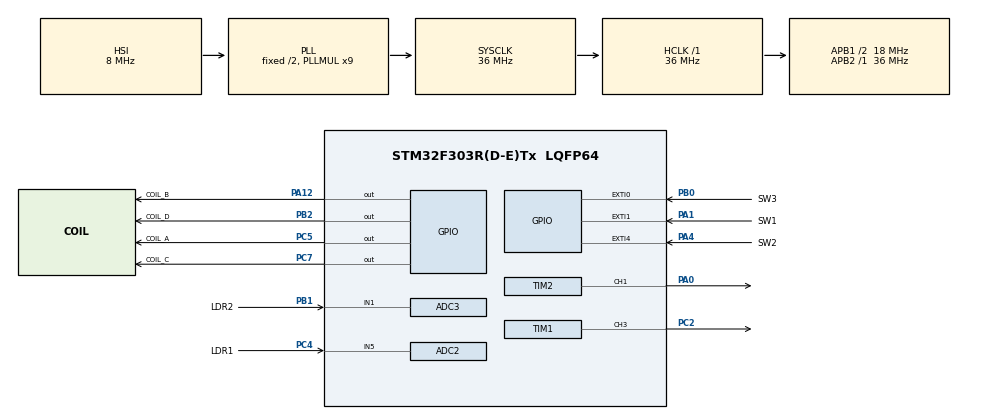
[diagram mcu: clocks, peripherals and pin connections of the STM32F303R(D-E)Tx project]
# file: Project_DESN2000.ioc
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ADC2.Channel-0\#ChannelRegularConversion=ADC_CHANNEL_5
ADC2.NbrOfConversionFlag=1
ADC2.Offset-0\#ChannelRegularConversion=0
ADC2.OffsetNumber-0\#ChannelRegularConversion=ADC_OFFSET_NONE
ADC2.Rank-0\#ChannelRegularConversion=1
ADC2.SamplingTime-0\#ChannelRegularConversion=ADC_SAMPLETIME_1CYCLE_5
ADC2.SamplingTimeOPAMP-0\#ChannelRegularConversion=ADC_SAMPLETIME_19CYCLES_5
ADC3.Channel-2\#ChannelRegularConversion=ADC_CHANNEL_1
ADC3.NbrOfConversionFlag=1
ADC3.Offset-2\#ChannelRegularConversion=0
ADC3.OffsetNumber-2\#ChannelRegularConversion=ADC_OFFSET_NONE
ADC3.Rank-2\#ChannelRegularConversion=1
ADC3.SamplingTime-2\#ChannelRegularConversion=ADC_SAMPLETIME_1CYCLE_5
ADC3.SamplingTimeOPAMP-2\#ChannelRegularConversion=ADC_SAMPLETIME_19CYCLES_5
ADC3.master=1
Mcu.Family=STM32F3
Mcu.Name=STM32F303R(D-E)Tx
Mcu.Package=LQFP64
NVIC.EXTI0_IRQn=true\:0\:0\:false\:false\:true\:true\:true\:true
NVIC.EXTI1_IRQn=true\:0\:0\:false\:false\:true\:true\:true\:true
NVIC.PriorityGroup=NVIC_PRIORITYGROUP_0
NVIC.RTC_Alarm_IRQn=true\:0\:0\:false\:false\:true\:true\:true\:true
NVIC.RTC_WKUP_IRQn=true\:0\:0\:false\:false\:true\:true\:true\:true
NVIC.TIM6_DAC_IRQn=true\:0\:0\:false\:false\:true\:true\:true\:true
PA0.Signal=S_TIM2_CH1_ETR
PA1.GPIO_Label=SW1
PA1.Signal=GPXTI1
PA12.GPIO_Label=COIL_B
PA12.Signal=GPIO_Output
PA13.GPIO_Label=TMS
PA13.Mode=Serial_Wire
PA13.Signal=SYS_JTMS-SWDIO
PA14.GPIO_Label=TCK
PA14.Mode=Serial_Wire
PA14.Signal=SYS_JTCK-SWCLK
PA4.GPIO_Label=SW2
PA4.Signal=GPXTI4
PB0.GPIO_Label=SW3
PB0.Signal=GPXTI0
PB1.GPIO_Label=LDR2
PB1.Mode=IN1-Single-Ended
PB1.Signal=ADC3_IN1
PB2.GPIO_Label=COIL_D
PB2.Signal=GPIO_Output
PB3.GPIO_Label=SWO
PB3.Signal=SYS_JTDO-TRACESWO
PC2.Signal=S_TIM1_CH3
PC4.GPIO_Label=LDR1
PC4.GPIO_Mode=GPIO_MODE_ANALOG
PC4.GPIO_PuPd=GPIO_NOPULL
PC4.Mode=IN5-Single-Ended
PC4.Signal=ADC2_IN5
PC5.GPIO_Label=COIL_A
PC5.Signal=GPIO_Output
PC7.GPIO_Label=COIL_C
PC7.Signal=GPIO_Output
ProjectManager.HeapSize=0x200
ProjectManager.StackSize=0x400
ProjectManager.TargetToolchain=STM32CubeIDE
RCC.AHBFreq_Value=36000000
RCC.APB1CLKDivider=RCC_HCLK_DIV2
RCC.APB1Freq_Value=18000000
RCC.APB1TimFreq_Value=36000000
RCC.APB2Freq_Value=36000000
RCC.APB2TimFreq_Value=36000000
RCC.CortexFreq_Value=36000000
RCC.HCLKFreq_Value=36000000
RCC.HSE_VALUE=8000000
RCC.HSI_VALUE=8000000
RCC.LSE_VALUE=32768
RCC.PLLM=8
RCC.PLLMUL=RCC_PLL_MUL9
RCC.PLLN=336
RCC.PLLP=RCC_PLLP_DIV4
RCC.PLLQ=7
RCC.RCC_PLLsource_Clock_Source_FROM_HSE=RCC_HSE_PREDIV_DIV2
RCC.SYSCLKFreq_VALUE=36000000
RCC.SYSCLKSourceVirtual=RCC_SYSCLKSOURCE_PLLCLK
RCC.USBFreq_Value=36000000
RTC.Alarm-Alarm\ A=RTC_ALARM_A
SH.S_TIM1_CH3.0=TIM1_CH3,PWM Generation3 CH3
SH.S_TIM2_CH1_ETR.0=TIM2_CH1,PWM Generation1 CH1
TIM1.Channel-PWM\ Generation3\ CH3=TIM_CHANNEL_3
TIM1.Prescaler=999
TIM2.Channel-PWM\ Generation1\ CH1=TIM_CHANNEL_1
TIM6.Period=7199
TIM6.Prescaler=9999
VP_RTC_VS_RTC_Activate.Mode=RTC_Enabled
VP_RTC_VS_RTC_Alarm_A_Intern.Mode=Alarm A
VP_RTC_VS_RTC_Calendar.Mode=RTC_Calendar
VP_RTC_VS_RTC_WakeUp_intern.Mode=WakeUp
VP_TIM1_VS_ClockSourceINT.Mode=Internal
VP_TIM2_VS_ClockSourceINT.Mode=Internal
VP_TIM6_VS_ClockSourceINT.Mode=Enable_Timer
board=NUCLEO-F303RE

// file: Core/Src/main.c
/* USER CODE BEGIN Header */
/**
  ******************************************************************************
  * @file           : main.c
  * @brief          : Main program body
  ******************************************************************************
  * @attention
  *
  * Copyright (c) 2025 STMicroelectronics.
  * All rights reserved.
  *
  * This software is licensed under terms that can be found in the LICENSE file
  * in the root directory of this software component.
  * If no LICENSE file comes with this software, it is provided AS-IS.
  *
  ******************************************************************************
  */
/* USER CODE END Header */
#include "main.h"
#include "lcd.h"
#include "screen.h"
#include "clockFunctions.h"
#include "haptics.h"

/* USER CODE BEGIN Includes */
#include <stdbool.h>
#include <stdio.h>
/* USER CODE END Includes */

/* USER CODE BEGIN PD */
#define MAX_SCREEN_INDEX 17
#define DEBOUNCE_DELAY 20
#define BRIGHTNESS_LEVELS 5
/* USER CODE END PD */

ADC_HandleTypeDef hadc2;
ADC_HandleTypeDef hadc3;

DMA_HandleTypeDef hdma_tim2_ch1;
RTC_HandleTypeDef hrtc;

TIM_HandleTypeDef htim1;
TIM_HandleTypeDef htim2;
TIM_HandleTypeDef htim6;

/* USER CODE BEGIN PV */
volatile bool sw1_pressed = false;
volatile bool sw2_pressed = false;
volatile bool sw3_pressed = false;

bool running = true;

// --- THE SCREEN TABLE ---
// This array maps each screen index to its specific functions.
const Screen_t screens[MAX_SCREEN_INDEX + 1] = {
    // Index | Init Function          | Process Function
    //-----------------------------------------------------------------
    [0] =  { .init = showHomeScreen,             	.process = processHomeScreen },
    [1] =  { .init = showStopwatchScreen,          	.process = processStopwatchInput },
    [2] =  { .init = showCountdownScreen,           .process = processCountdownInput },
    [3] =  { .init = showAlarmScreen,               .process = processAlarm },
	[4] =  { .init = showLEDBrightnessScreen,    	.process = processLEDBrightnessInput },
    [5] =  { .init = showStepCounterScreen, 		.process = processStepCounterInput },
    [6] =  { .init = showSleepTrackerScreen, 		.process = processSleepTrackerInput },
    [7] =  { .init = showHeartRateScreen, 			.process = processHeartRateInput },
    [8] =  { .init = showWeatherScreen, 			.process = processWeatherInput },
	[9] =  { .init = showFallDemoScreen, 			.process = processFallDemoInput },
	[10] = { .init = showGameReactionScreen, 		.process = processGameReactionScreen },
    [11] = { .init = showExerciseScreen,            .process = processExerciseInput },
    [12] = { .init = showCoinFlipScreen,            .process = showCoinFlipScreen },
    [13] = { .init = showMagicBallScreen,           .process = processMagicBall },
    [14] = { .init = showScoreTrackerScreen,        .process = processScoreTracker },
	[15] = { .init = showHapticsScreen, 			.process = processHaptics },
    [16] = { .init = showClockScreen,    			.process = processClock }

};

int screenIndex = 0;
static uint32_t lastButtonPressTime = 0;
static uint32_t pwm_cycle_start = 0;
static bool pwm_state = false;
static const uint16_t PWM_PERIOD_MS = 10;  // 20ms PWM period

/* USER CODE END PV */

void SystemClock_Config(void);
static void MX_GPIO_Init(void);
static void MX_TIM6_Init(void);
static void MX_ADC2_Init(void);
static void MX_DMA_Init(void);
static void MX_TIM2_Init(void);
static void MX_ADC3_Init(void);
static void MX_RTC_Init(void);
static void MX_TIM1_Init(void);
/* USER CODE BEGIN PFP */
void readButtonInputs(void);
void updateScreen(int index);

void software_PWM_ShiftLEDs(uint8_t brightness, uint16_t duration_ms);
void setAllShiftLEDs(uint8_t state);
void demonstrateFadeEffect(void);
void smoothFadeTo(uint8_t targetBrightness);
uint8_t getCurrentBrightnessPercent(void);

/* USER CODE END PFP */

int main(void)
{

  /* MCU Configuration--------------------------------------------------------*/

  /* Reset of all peripherals, Initializes the Flash interface and the Systick. */
  HAL_Init();

  /* Configure the system clock */
  SystemClock_Config();

  /* Initialize all configured peripherals */
  MX_GPIO_Init();
  MX_TIM6_Init();
  MX_ADC2_Init();
  MX_DMA_Init();
  MX_TIM2_Init();
  MX_ADC3_Init();
  MX_RTC_Init();
  MX_TIM1_Init();
  /* USER CODE BEGIN 2 */
  LCD_Init();
  isHomeScreenActive = false;
  screenIndex = 0;
  updateScreen(screenIndex);

  HAL_TIM_PWM_Start(&htim2, TIM_CHANNEL_1);
  /* USER CODE END 2 */

  /* Infinite loop */
  while (1)
  {

    /* USER CODE BEGIN 3 */
	// 1. Check for navigation inputs
	readButtonInputs();

	// 2. Call the process function for the CURRENT screen
	if (screens[screenIndex].process != NULL) {
	    screens[screenIndex].process();
	}

    // 3. Handles flashlight function when on screen 4
    if (screenIndex == 4) {
        static uint8_t lastBrightness = 255;
        uint8_t currentBrightness = getCurrentBrightnessPercent();

        if (currentBrightness != lastBrightness) {
            // Updating hardware PWM for LD2
            if (currentBrightness == 0) {
                TIM2->CCR1 = 0;  	// 0% brightness
            } else if (currentBrightness <= 10) {
                TIM2->CCR1 = 115; 	// ~10% brightness
            } else if (currentBrightness <= 50) {
                TIM2->CCR1 = 575;  	// 50% brightness
            } else if (currentBrightness <= 80) {
                TIM2->CCR1 = 920;  	// 80% brightness
            } else {
                TIM2->CCR1 = 1151;  // 100% brightness
            }

            // Updating software PWM LEDs
            if (currentBrightness == 0) {
                setAllShiftLEDs(0);  // Turn off all LEDs
                HAL_GPIO_WritePin(D1_GPIO_Port, D1_Pin, GPIO_PIN_RESET);
                HAL_GPIO_WritePin(D2_GPIO_Port, D2_Pin, GPIO_PIN_RESET);
                HAL_GPIO_WritePin(D3_GPIO_Port, D3_Pin, GPIO_PIN_RESET);
                HAL_GPIO_WritePin(D4_GPIO_Port, D4_Pin, GPIO_PIN_RESET);
            } else if (currentBrightness == 100) {
                setAllShiftLEDs(1);  // Turn on all LEDs
                HAL_GPIO_WritePin(D1_GPIO_Port, D1_Pin, GPIO_PIN_SET);
                HAL_GPIO_WritePin(D2_GPIO_Port, D2_Pin, GPIO_PIN_SET);
                HAL_GPIO_WritePin(D3_GPIO_Port, D3_Pin, GPIO_PIN_SET);
                HAL_GPIO_WritePin(D4_GPIO_Port, D4_Pin, GPIO_PIN_SET);
            }
            lastBrightness = currentBrightness;
        }
        // Handles software PWM for brightness levels
        if (currentBrightness > 0 && currentBrightness < 100) {
            static uint32_t lastPWMUpdate = 0;
            uint32_t now = HAL_GetTick();

            if (now - lastPWMUpdate >= 100) {  // Updates every 100ms
                software_PWM_ShiftLEDs(currentBrightness, 100);
                lastPWMUpdate = now;
            }
        }
    } else {
        // Turns off flashlight when not on flashlight screen (Screen 4)
        __HAL_TIM_SET_COMPARE(&htim2, TIM_CHANNEL_1, 0);  // Turns off LD2
        setAllShiftLEDs(0);  // Turns off shift register LEDs
        HAL_GPIO_WritePin(D1_GPIO_Port, D1_Pin, GPIO_PIN_RESET);
        HAL_GPIO_WritePin(D2_GPIO_Port, D2_Pin, GPIO_PIN_RESET);
        HAL_GPIO_WritePin(D3_GPIO_Port, D3_Pin, GPIO_PIN_RESET);
        HAL_GPIO_WritePin(D4_GPIO_Port, D4_Pin, GPIO_PIN_RESET);
    }

	HAL_Delay(50); // General delay for stability
  }
  /* USER CODE END 3 */
}

void SystemClock_Config(void)
{
  RCC_OscInitTypeDef RCC_OscInitStruct = {0};
  RCC_ClkInitTypeDef RCC_ClkInitStruct = {0};
  RCC_PeriphCLKInitTypeDef PeriphClkInit = {0};

  /** Initializes the RCC Oscillators according to the specified parameters
  * in the RCC_OscInitTypeDef structure.
  */
  RCC_OscInitStruct.OscillatorType = RCC_OSCILLATORTYPE_HSI|RCC_OSCILLATORTYPE_LSI;
  RCC_OscInitStruct.HSIState = RCC_HSI_ON;
  RCC_OscInitStruct.HSICalibrationValue = RCC_HSICALIBRATION_DEFAULT;
  RCC_OscInitStruct.LSIState = RCC_LSI_ON;
  RCC_OscInitStruct.PLL.PLLState = RCC_PLL_ON;
  RCC_OscInitStruct.PLL.PLLSource = RCC_PLLSOURCE_HSI;
  RCC_OscInitStruct.PLL.PLLMUL = RCC_PLL_MUL9;
  RCC_OscInitStruct.PLL.PREDIV = RCC_PREDIV_DIV1;
  if (HAL_RCC_OscConfig(&RCC_OscInitStruct) != HAL_OK)
  {
    Error_Handler();
  }

  /** Initializes the CPU, AHB and APB buses clocks
  */
  RCC_ClkInitStruct.ClockType = RCC_CLOCKTYPE_HCLK|RCC_CLOCKTYPE_SYSCLK
                              |RCC_CLOCKTYPE_PCLK1|RCC_CLOCKTYPE_PCLK2;
  RCC_ClkInitStruct.SYSCLKSource = RCC_SYSCLKSOURCE_PLLCLK;
  RCC_ClkInitStruct.AHBCLKDivider = RCC_SYSCLK_DIV1;
  RCC_ClkInitStruct.APB1CLKDivider = RCC_HCLK_DIV2;
  RCC_ClkInitStruct.APB2CLKDivider = RCC_HCLK_DIV1;

  if (HAL_RCC_ClockConfig(&RCC_ClkInitStruct, FLASH_LATENCY_1) != HAL_OK)
  {
    Error_Handler();
  }
  PeriphClkInit.PeriphClockSelection = RCC_PERIPHCLK_RTC|RCC_PERIPHCLK_TIM1
                              |RCC_PERIPHCLK_ADC12|RCC_PERIPHCLK_ADC34
                              |RCC_PERIPHCLK_TIM2;
  PeriphClkInit.Adc12ClockSelection = RCC_ADC12PLLCLK_DIV1;
  PeriphClkInit.Adc34ClockSelection = RCC_ADC34PLLCLK_DIV1;
  PeriphClkInit.RTCClockSelection = RCC_RTCCLKSOURCE_LSI;
  PeriphClkInit.Tim1ClockSelection = RCC_TIM1CLK_HCLK;
  PeriphClkInit.Tim2ClockSelection = RCC_TIM2CLK_HCLK;
  if (HAL_RCCEx_PeriphCLKConfig(&PeriphClkInit) != HAL_OK)
  {
    Error_Handler();
  }
}

static void MX_ADC2_Init(void)
{

  ADC_ChannelConfTypeDef sConfig = {0};

  /** Common config
  */
  hadc2.Instance = ADC2;
  hadc2.Init.ClockPrescaler = ADC_CLOCK_ASYNC_DIV1;
  hadc2.Init.Resolution = ADC_RESOLUTION_12B;
  hadc2.Init.ScanConvMode = ADC_SCAN_DISABLE;
  hadc2.Init.ContinuousConvMode = DISABLE;
  hadc2.Init.DiscontinuousConvMode = DISABLE;
  hadc2.Init.ExternalTrigConvEdge = ADC_EXTERNALTRIGCONVEDGE_NONE;
  hadc2.Init.ExternalTrigConv = ADC_SOFTWARE_START;
  hadc2.Init.DataAlign = ADC_DATAALIGN_RIGHT;
  hadc2.Init.NbrOfConversion = 1;
  hadc2.Init.DMAContinuousRequests = DISABLE;
  hadc2.Init.EOCSelection = ADC_EOC_SINGLE_CONV;
  hadc2.Init.LowPowerAutoWait = DISABLE;
  hadc2.Init.Overrun = ADC_OVR_DATA_OVERWRITTEN;
  if (HAL_ADC_Init(&hadc2) != HAL_OK)
  {
    Error_Handler();
  }

  /** Configure Regular Channel
  */
  sConfig.Channel = ADC_CHANNEL_5;
  sConfig.Rank = ADC_REGULAR_RANK_1;
  sConfig.SingleDiff = ADC_SINGLE_ENDED;
  sConfig.SamplingTime = ADC_SAMPLETIME_1CYCLE_5;
  sConfig.OffsetNumber = ADC_OFFSET_NONE;
  sConfig.Offset = 0;
  if (HAL_ADC_ConfigChannel(&hadc2, &sConfig) != HAL_OK)
  {
    Error_Handler();
  }

}

static void MX_ADC3_Init(void)
{

  ADC_MultiModeTypeDef multimode = {0};
  ADC_ChannelConfTypeDef sConfig = {0};

  /** Common config
  */
  hadc3.Instance = ADC3;
  hadc3.Init.ClockPrescaler = ADC_CLOCK_ASYNC_DIV1;
  hadc3.Init.Resolution = ADC_RESOLUTION_12B;
  hadc3.Init.ScanConvMode = ADC_SCAN_DISABLE;
  hadc3.Init.ContinuousConvMode = DISABLE;
  hadc3.Init.DiscontinuousConvMode = DISABLE;
  hadc3.Init.ExternalTrigConvEdge = ADC_EXTERNALTRIGCONVEDGE_NONE;
  hadc3.Init.ExternalTrigConv = ADC_SOFTWARE_START;
  hadc3.Init.DataAlign = ADC_DATAALIGN_RIGHT;
  hadc3.Init.NbrOfConversion = 1;
  hadc3.Init.DMAContinuousRequests = DISABLE;
  hadc3.Init.EOCSelection = ADC_EOC_SINGLE_CONV;
  hadc3.Init.LowPowerAutoWait = DISABLE;
  hadc3.Init.Overrun = ADC_OVR_DATA_OVERWRITTEN;
  if (HAL_ADC_Init(&hadc3) != HAL_OK)
  {
    Error_Handler();
  }

  /** Configure the ADC multi-mode
  */
  multimode.Mode = ADC_MODE_INDEPENDENT;
  if (HAL_ADCEx_MultiModeConfigChannel(&hadc3, &multimode) != HAL_OK)
  {
    Error_Handler();
  }

  /** Configure Regular Channel
  */
  sConfig.Channel = ADC_CHANNEL_1;
  sConfig.Rank = ADC_REGULAR_RANK_1;
  sConfig.SingleDiff = ADC_SINGLE_ENDED;
  sConfig.SamplingTime = ADC_SAMPLETIME_1CYCLE_5;
  sConfig.OffsetNumber = ADC_OFFSET_NONE;
  sConfig.Offset = 0;
  if (HAL_ADC_ConfigChannel(&hadc3, &sConfig) != HAL_OK)
  {
    Error_Handler();
  }

}

static void MX_RTC_Init(void)
{

  RTC_TimeTypeDef sTime = {0};
  RTC_DateTypeDef sDate = {0};
  RTC_AlarmTypeDef sAlarm = {0};

  /** Initialize RTC Only
  */
  hrtc.Instance = RTC;
  hrtc.Init.HourFormat = RTC_HOURFORMAT_24;
  hrtc.Init.AsynchPrediv = 127;
  hrtc.Init.SynchPrediv = 255;
  hrtc.Init.OutPut = RTC_OUTPUT_DISABLE;
  hrtc.Init.OutPutPolarity = RTC_OUTPUT_POLARITY_HIGH;
  hrtc.Init.OutPutType = RTC_OUTPUT_TYPE_OPENDRAIN;
  if (HAL_RTC_Init(&hrtc) != HAL_OK)
  {
    Error_Handler();
  }

  /** Initialize RTC and set the Time and Date
  */
  sTime.Hours = 0x0;
  sTime.Minutes = 0x0;
  sTime.Seconds = 0x0;
  sTime.DayLightSaving = RTC_DAYLIGHTSAVING_NONE;
  sTime.StoreOperation = RTC_STOREOPERATION_RESET;
  if (HAL_RTC_SetTime(&hrtc, &sTime, RTC_FORMAT_BCD) != HAL_OK)
  {
    Error_Handler();
  }
  sDate.WeekDay = RTC_WEEKDAY_MONDAY;
  sDate.Month = RTC_MONTH_JANUARY;
  sDate.Date = 0x1;
  sDate.Year = 0x0;

  if (HAL_RTC_SetDate(&hrtc, &sDate, RTC_FORMAT_BCD) != HAL_OK)
  {
    Error_Handler();
  }

  /** Enable the Alarm A
  */
  sAlarm.AlarmTime.Hours = 0x0;
  sAlarm.AlarmTime.Minutes = 0x0;
  sAlarm.AlarmTime.Seconds = 0x0;
  sAlarm.AlarmTime.SubSeconds = 0x0;
  sAlarm.AlarmTime.DayLightSaving = RTC_DAYLIGHTSAVING_NONE;
  sAlarm.AlarmTime.StoreOperation = RTC_STOREOPERATION_RESET;
  sAlarm.AlarmMask = RTC_ALARMMASK_NONE;
  sAlarm.AlarmSubSecondMask = RTC_ALARMSUBSECONDMASK_ALL;
  sAlarm.AlarmDateWeekDaySel = RTC_ALARMDATEWEEKDAYSEL_DATE;
  sAlarm.AlarmDateWeekDay = 0x1;
  sAlarm.Alarm = RTC_ALARM_A;
  if (HAL_RTC_SetAlarm_IT(&hrtc, &sAlarm, RTC_FORMAT_BCD) != HAL_OK)
  {
    Error_Handler();
  }

  /** Enable the WakeUp
  */
  if (HAL_RTCEx_SetWakeUpTimer_IT(&hrtc, 0, RTC_WAKEUPCLOCK_RTCCLK_DIV16) != HAL_OK)
  {
    Error_Handler();
  }

}

static void MX_TIM1_Init(void)
{

  TIM_ClockConfigTypeDef sClockSourceConfig = {0};
  TIM_MasterConfigTypeDef sMasterConfig = {0};
  TIM_OC_InitTypeDef sConfigOC = {0};
  TIM_BreakDeadTimeConfigTypeDef sBreakDeadTimeConfig = {0};

  htim1.Instance = TIM1;
  htim1.Init.Prescaler = 999;
  htim1.Init.CounterMode = TIM_COUNTERMODE_UP;
  htim1.Init.Period = 65535;
  htim1.Init.ClockDivision = TIM_CLOCKDIVISION_DIV1;
  htim1.Init.RepetitionCounter = 0;
  htim1.Init.AutoReloadPreload = TIM_AUTORELOAD_PRELOAD_DISABLE;
  if (HAL_TIM_Base_Init(&htim1) != HAL_OK)
  {
    Error_Handler();
  }
  sClockSourceConfig.ClockSource = TIM_CLOCKSOURCE_INTERNAL;
  if (HAL_TIM_ConfigClockSource(&htim1, &sClockSourceConfig) != HAL_OK)
  {
    Error_Handler();
  }
  if (HAL_TIM_PWM_Init(&htim1) != HAL_OK)
  {
    Error_Handler();
  }
  sMasterConfig.MasterOutputTrigger = TIM_TRGO_RESET;
  sMasterConfig.MasterOutputTrigger2 = TIM_TRGO2_RESET;
  sMasterConfig.MasterSlaveMode = TIM_MASTERSLAVEMODE_DISABLE;
  if (HAL_TIMEx_MasterConfigSynchronization(&htim1, &sMasterConfig) != HAL_OK)
  {
    Error_Handler();
  }
  sConfigOC.OCMode = TIM_OCMODE_PWM1;
  sConfigOC.Pulse = 0;
  sConfigOC.OCPolarity = TIM_OCPOLARITY_HIGH;
  sConfigOC.OCNPolarity = TIM_OCNPOLARITY_HIGH;
  sConfigOC.OCFastMode = TIM_OCFAST_DISABLE;
  sConfigOC.OCIdleState = TIM_OCIDLESTATE_RESET;
  sConfigOC.OCNIdleState = TIM_OCNIDLESTATE_RESET;
  if (HAL_TIM_PWM_ConfigChannel(&htim1, &sConfigOC, TIM_CHANNEL_3) != HAL_OK)
  {
    Error_Handler();
  }
  sBreakDeadTimeConfig.OffStateRunMode = TIM_OSSR_DISABLE;
  sBreakDeadTimeConfig.OffStateIDLEMode = TIM_OSSI_DISABLE;
  sBreakDeadTimeConfig.LockLevel = TIM_LOCKLEVEL_OFF;
  sBreakDeadTimeConfig.DeadTime = 0;
  sBreakDeadTimeConfig.BreakState = TIM_BREAK_DISABLE;
  sBreakDeadTimeConfig.BreakPolarity = TIM_BREAKPOLARITY_HIGH;
  sBreakDeadTimeConfig.BreakFilter = 0;
  sBreakDeadTimeConfig.Break2State = TIM_BREAK2_DISABLE;
  sBreakDeadTimeConfig.Break2Polarity = TIM_BREAK2POLARITY_HIGH;
  sBreakDeadTimeConfig.Break2Filter = 0;
  sBreakDeadTimeConfig.AutomaticOutput = TIM_AUTOMATICOUTPUT_DISABLE;
  if (HAL_TIMEx_ConfigBreakDeadTime(&htim1, &sBreakDeadTimeConfig) != HAL_OK)
  {
    Error_Handler();
  }
  HAL_TIM_MspPostInit(&htim1);

}

static void MX_TIM2_Init(void)
{

  TIM_ClockConfigTypeDef sClockSourceConfig = {0};
  TIM_MasterConfigTypeDef sMasterConfig = {0};
  TIM_OC_InitTypeDef sConfigOC = {0};

  htim2.Instance = TIM2;
  htim2.Init.Prescaler = 999;
  htim2.Init.CounterMode = TIM_COUNTERMODE_UP;
  htim2.Init.Period = 1151;
  htim2.Init.ClockDivision = TIM_CLOCKDIVISION_DIV1;
  htim2.Init.AutoReloadPreload = TIM_AUTORELOAD_PRELOAD_DISABLE;
  if (HAL_TIM_Base_Init(&htim2) != HAL_OK)
  {
    Error_Handler();
  }
  sClockSourceConfig.ClockSource = TIM_CLOCKSOURCE_INTERNAL;
  if (HAL_TIM_ConfigClockSource(&htim2, &sClockSourceConfig) != HAL_OK)
  {
    Error_Handler();
  }
  if (HAL_TIM_PWM_Init(&htim2) != HAL_OK)
  {
    Error_Handler();
  }
  sMasterConfig.MasterOutputTrigger = TIM_TRGO_RESET;
  sMasterConfig.MasterSlaveMode = TIM_MASTERSLAVEMODE_DISABLE;
  if (HAL_TIMEx_MasterConfigSynchronization(&htim2, &sMasterConfig) != HAL_OK)
  {
    Error_Handler();
  }
  sConfigOC.OCMode = TIM_OCMODE_PWM1;
  sConfigOC.Pulse = 115;
  sConfigOC.OCPolarity = TIM_OCPOLARITY_HIGH;
  sConfigOC.OCFastMode = TIM_OCFAST_DISABLE;
  if (HAL_TIM_PWM_ConfigChannel(&htim2, &sConfigOC, TIM_CHANNEL_1) != HAL_OK)
  {
    Error_Handler();
  }
  /* USER CODE BEGIN TIM2_Init 2 */
  HAL_TIM_PWM_MspInit(&htim2);
  /* USER CODE END TIM2_Init 2 */
  HAL_TIM_MspPostInit(&htim2);

}

static void MX_DMA_Init(void)
{

  /* DMA controller clock enable */
  __HAL_RCC_DMA1_CLK_ENABLE();

  /* DMA interrupt init */
  /* DMA1_Channel5_IRQn interrupt configuration */
  HAL_NVIC_SetPriority(DMA1_Channel5_IRQn, 0, 0);
  HAL_NVIC_EnableIRQ(DMA1_Channel5_IRQn);

}

void HAL_TIM_PWM_MspInit(TIM_HandleTypeDef* htim_pwm)
{
  if(htim_pwm->Instance==TIM2)
  {
    /* Peripheral clock enable */
    __HAL_RCC_TIM2_CLK_ENABLE();

    GPIO_InitTypeDef GPIO_InitStruct = {0};
    GPIO_InitStruct.Pin = LD2_Pin;
    GPIO_InitStruct.Mode = GPIO_MODE_AF_PP;
    GPIO_InitStruct.Pull = GPIO_NOPULL;
    GPIO_InitStruct.Speed = GPIO_SPEED_FREQ_LOW;
    GPIO_InitStruct.Alternate = GPIO_AF1_TIM2;
    HAL_GPIO_Init(LD2_GPIO_Port, &GPIO_InitStruct);
  }
}

static void MX_TIM6_Init(void)
{

  TIM_MasterConfigTypeDef sMasterConfig = {0};

  htim6.Instance = TIM6;
  htim6.Init.Prescaler = 9999;
  htim6.Init.CounterMode = TIM_COUNTERMODE_UP;
  htim6.Init.Period = 7199;
  htim6.Init.AutoReloadPreload = TIM_AUTORELOAD_PRELOAD_DISABLE;
  if (HAL_TIM_Base_Init(&htim6) != HAL_OK)
  {
    Error_Handler();
  }
  sMasterConfig.MasterOutputTrigger = TIM_TRGO_RESET;
  sMasterConfig.MasterSlaveMode = TIM_MASTERSLAVEMODE_DISABLE;
  if (HAL_TIMEx_MasterConfigSynchronization(&htim6, &sMasterConfig) != HAL_OK)
  {
    Error_Handler();
  }

}

static void MX_GPIO_Init(void)
{
  GPIO_InitTypeDef GPIO_InitStruct = {0};

  /* GPIO Ports Clock Enable */
  __HAL_RCC_GPIOC_CLK_ENABLE();
  __HAL_RCC_GPIOA_CLK_ENABLE();
  __HAL_RCC_GPIOB_CLK_ENABLE();
  __HAL_RCC_GPIOD_CLK_ENABLE();

  /*Configure GPIO pin Output Level */
  HAL_GPIO_WritePin(GPIOC, COIL_A_Pin|COIL_C_Pin, GPIO_PIN_RESET);

  /*Configure GPIO pin Output Level */
  HAL_GPIO_WritePin(COIL_D_GPIO_Port, COIL_D_Pin, GPIO_PIN_RESET);

  /*Configure GPIO pin Output Level */
  HAL_GPIO_WritePin(COIL_B_GPIO_Port, COIL_B_Pin, GPIO_PIN_RESET);

  /*Configure GPIO pins : SW1_Pin SW2_Pin */
  GPIO_InitStruct.Pin = SW1_Pin|SW2_Pin;
  GPIO_InitStruct.Mode = GPIO_MODE_IT_RISING;
  GPIO_InitStruct.Pull = GPIO_NOPULL;
  HAL_GPIO_Init(GPIOA, &GPIO_InitStruct);

  /*Configure GPIO pins : COIL_A_Pin COIL_C_Pin */
  GPIO_InitStruct.Pin = COIL_A_Pin|COIL_C_Pin;
  GPIO_InitStruct.Mode = GPIO_MODE_OUTPUT_PP;
  GPIO_InitStruct.Pull = GPIO_NOPULL;
  GPIO_InitStruct.Speed = GPIO_SPEED_FREQ_LOW;
  HAL_GPIO_Init(GPIOC, &GPIO_InitStruct);

  /*Configure GPIO pin : SW3_Pin */
  GPIO_InitStruct.Pin = SW3_Pin;
  GPIO_InitStruct.Mode = GPIO_MODE_IT_RISING;
  GPIO_InitStruct.Pull = GPIO_NOPULL;
  HAL_GPIO_Init(SW3_GPIO_Port, &GPIO_InitStruct);

  /*Configure GPIO pin : COIL_D_Pin */
  GPIO_InitStruct.Pin = COIL_D_Pin;
  GPIO_InitStruct.Mode = GPIO_MODE_OUTPUT_PP;
  GPIO_InitStruct.Pull = GPIO_NOPULL;
  GPIO_InitStruct.Speed = GPIO_SPEED_FREQ_LOW;
  HAL_GPIO_Init(COIL_D_GPIO_Port, &GPIO_InitStruct);

  /*Configure GPIO pin : COIL_B_Pin */
  GPIO_InitStruct.Pin = COIL_B_Pin;
  GPIO_InitStruct.Mode = GPIO_MODE_OUTPUT_PP;
  GPIO_InitStruct.Pull = GPIO_NOPULL;
  GPIO_InitStruct.Speed = GPIO_SPEED_FREQ_LOW;
  HAL_GPIO_Init(COIL_B_GPIO_Port, &GPIO_InitStruct);

  /* EXTI interrupt init*/
  HAL_NVIC_SetPriority(EXTI0_IRQn, 0, 0);
  HAL_NVIC_EnableIRQ(EXTI0_IRQn);

  HAL_NVIC_SetPriority(EXTI1_IRQn, 0, 0);
  HAL_NVIC_EnableIRQ(EXTI1_IRQn);

  HAL_NVIC_SetPriority(EXTI4_IRQn, 0, 0);
  HAL_NVIC_EnableIRQ(EXTI4_IRQn);

  /* USER CODE BEGIN MX_GPIO_Init_2 */

  // -------- LCD pins ----------
  GPIO_InitStruct.Pin = GPIO_PIN_8;
  GPIO_InitStruct.Mode = GPIO_MODE_OUTPUT_PP;
  GPIO_InitStruct.Pull = GPIO_NOPULL;
  GPIO_InitStruct.Speed = GPIO_SPEED_FREQ_LOW;
  HAL_GPIO_Init(GPIOC, &GPIO_InitStruct);

  GPIO_InitStruct.Pin = GPIO_PIN_9;
  GPIO_InitStruct.Mode = GPIO_MODE_OUTPUT_PP;
  GPIO_InitStruct.Pull = GPIO_NOPULL;
  GPIO_InitStruct.Speed = GPIO_SPEED_FREQ_LOW;
  HAL_GPIO_Init(GPIOC, &GPIO_InitStruct);

  GPIO_InitStruct.Pin = GPIO_PIN_10;
  GPIO_InitStruct.Mode = GPIO_MODE_OUTPUT_PP;
  GPIO_InitStruct.Pull = GPIO_NOPULL;
  GPIO_InitStruct.Speed = GPIO_SPEED_FREQ_LOW;
  HAL_GPIO_Init(GPIOC, &GPIO_InitStruct);

  GPIO_InitStruct.Pin = GPIO_PIN_11;
  GPIO_InitStruct.Mode = GPIO_MODE_OUTPUT_PP;
  GPIO_InitStruct.Pull = GPIO_NOPULL;
  GPIO_InitStruct.Speed = GPIO_SPEED_FREQ_LOW;
  HAL_GPIO_Init(GPIOC, &GPIO_InitStruct);

  GPIO_InitStruct.Pin = GPIO_PIN_2;
  GPIO_InitStruct.Mode = GPIO_MODE_OUTPUT_PP;
  GPIO_InitStruct.Pull = GPIO_NOPULL;
  GPIO_InitStruct.Speed = GPIO_SPEED_FREQ_LOW;
  HAL_GPIO_Init(GPIOD, &GPIO_InitStruct);

  GPIO_InitStruct.Pin = GPIO_PIN_6;
  GPIO_InitStruct.Mode = GPIO_MODE_OUTPUT_PP;
  GPIO_InitStruct.Pull = GPIO_NOPULL;
  GPIO_InitStruct.Speed = GPIO_SPEED_FREQ_LOW;
  HAL_GPIO_Init(GPIOC, &GPIO_InitStruct);

  GPIO_InitStruct.Pin = GPIO_PIN_15;
  GPIO_InitStruct.Mode = GPIO_MODE_OUTPUT_PP;
  GPIO_InitStruct.Pull = GPIO_NOPULL;
  GPIO_InitStruct.Speed = GPIO_SPEED_FREQ_LOW;
  HAL_GPIO_Init(GPIOA, &GPIO_InitStruct);
  // ---------------------------------

  // Initializing Pin RCLK
  HAL_GPIO_WritePin(RCLK_GPIO_Port, RCLK_Pin, GPIO_PIN_RESET);
  GPIO_InitStruct.Pin = RCLK_Pin;
  GPIO_InitStruct.Mode = GPIO_MODE_OUTPUT_PP;
  GPIO_InitStruct.Pull = GPIO_NOPULL;
  GPIO_InitStruct.Speed = GPIO_SPEED_FREQ_LOW;
  HAL_GPIO_Init(RCLK_GPIO_Port, &GPIO_InitStruct);

  // Initializing Pin SRLK
  HAL_GPIO_WritePin(SRCLK_GPIO_Port, SRCLK_Pin, GPIO_PIN_RESET);
  GPIO_InitStruct.Pin = SRCLK_Pin;
  GPIO_InitStruct.Mode = GPIO_MODE_OUTPUT_PP;
  GPIO_InitStruct.Pull = GPIO_NOPULL;
  GPIO_InitStruct.Speed = GPIO_SPEED_FREQ_LOW;
  HAL_GPIO_Init(SRCLK_GPIO_Port, &GPIO_InitStruct);

  // Initializing Pin SER
  HAL_GPIO_WritePin(SER_GPIO_Port, SER_Pin, GPIO_PIN_RESET);
  GPIO_InitStruct.Pin = SER_Pin;
  GPIO_InitStruct.Mode = GPIO_MODE_OUTPUT_PP;
  GPIO_InitStruct.Pull = GPIO_NOPULL;
  GPIO_InitStruct.Speed = GPIO_SPEED_FREQ_LOW;
  HAL_GPIO_Init(SER_GPIO_Port, &GPIO_InitStruct);

  // Initializing Pin 1
  HAL_GPIO_WritePin(D1_GPIO_Port, D1_Pin, GPIO_PIN_RESET);
  GPIO_InitStruct.Pin = D1_Pin;
  GPIO_InitStruct.Mode = GPIO_MODE_OUTPUT_PP;
  GPIO_InitStruct.Pull = GPIO_NOPULL;
  GPIO_InitStruct.Speed = GPIO_SPEED_FREQ_LOW;
  HAL_GPIO_Init(D1_GPIO_Port, &GPIO_InitStruct);

  // Initializing Pin 2
  HAL_GPIO_WritePin(D2_GPIO_Port, D2_Pin, GPIO_PIN_RESET);
  GPIO_InitStruct.Pin = D2_Pin;
  GPIO_InitStruct.Mode = GPIO_MODE_OUTPUT_PP;
  GPIO_InitStruct.Pull = GPIO_NOPULL;
  GPIO_InitStruct.Speed = GPIO_SPEED_FREQ_LOW;
  HAL_GPIO_Init(D2_GPIO_Port, &GPIO_InitStruct);

  // Initializing Pin 3
  HAL_GPIO_WritePin(D3_GPIO_Port, D3_Pin, GPIO_PIN_RESET);
  GPIO_InitStruct.Pin = D3_Pin;
  GPIO_InitStruct.Mode = GPIO_MODE_OUTPUT_PP;
  GPIO_InitStruct.Pull = GPIO_NOPULL;
  GPIO_InitStruct.Speed = GPIO_SPEED_FREQ_LOW;
  HAL_GPIO_Init(D3_GPIO_Port, &GPIO_InitStruct);

  // Initializing Pin 4
  HAL_GPIO_WritePin(D4_GPIO_Port, D4_Pin, GPIO_PIN_RESET);
  GPIO_InitStruct.Pin = D4_Pin;
  GPIO_InitStruct.Mode = GPIO_MODE_OUTPUT_PP;
  GPIO_InitStruct.Pull = GPIO_NOPULL;
  GPIO_InitStruct.Speed = GPIO_SPEED_FREQ_LOW;
  HAL_GPIO_Init(D4_GPIO_Port, &GPIO_InitStruct);

  /*Configure GPIO pin : LD2_Pin */
  GPIO_InitStruct.Pin = LD2_Pin;
  GPIO_InitStruct.Mode = GPIO_MODE_AF_PP;
  GPIO_InitStruct.Pull = GPIO_NOPULL;
  GPIO_InitStruct.Speed = GPIO_SPEED_FREQ_LOW;
  GPIO_InitStruct.Alternate = GPIO_AF1_TIM2;
  HAL_GPIO_Init(LD2_GPIO_Port, &GPIO_InitStruct);
  /* USER CODE END MX_GPIO_Init_2 */
}

/* USER CODE BEGIN 4 */
void HAL_GPIO_EXTI_Callback(uint16_t GPIO_Pin) {
    static uint32_t lastInterruptTime = 0;
    uint32_t now = HAL_GetTick();

    // Ignore interrupts that come too quickly
    if (now - lastInterruptTime < 100) { // 100ms debounce period
        return;
    }
    lastInterruptTime = now;

	if (GPIO_Pin == SW1_Pin) {
			sw1_pressed = true;
	} else if (GPIO_Pin == SW2_Pin) {
			sw2_pressed = true;
	} else if (GPIO_Pin == SW3_Pin) {
			sw3_pressed = true;
	}
}

void readButtonInputs(void)
{
	uint32_t now = HAL_GetTick();
	if (now - lastButtonPressTime < 100) { // Debounce check
		return;
	}

	int oldIndex = screenIndex; // Store the index before checking buttons

	if (sw1_pressed == true) {
		sw1_pressed = false;
        screenIndex = 0;
	}
	else if (sw2_pressed == true) {
		sw2_pressed = false;
		screenIndex--;
		if (screenIndex < 0) screenIndex = MAX_SCREEN_INDEX;
	}
	else if (sw3_pressed == true) {
		sw3_pressed = false;
		screenIndex++;
		if (screenIndex > MAX_SCREEN_INDEX) screenIndex = 0;
	}

	// If the screen index has changed, call the update function.
	if (screenIndex != oldIndex) {
		updateScreen(screenIndex);
		HAL_Delay(100);
	}
	lastButtonPressTime = now;
}

void updateScreen(int index) {

    isHomeScreenActive = false;
    HAL_Delay(50);

    if (index == 0) {
        isHomeScreenActive = true;
    }

    if (screens[index].init != NULL) {
        screens[index].init();
    }
}

void software_PWM_ShiftLEDs(uint8_t brightness, uint16_t duration_ms) {
    if (brightness == 0) {
        // Turns off all LEDs
        HAL_GPIO_WritePin(D1_GPIO_Port, D1_Pin, GPIO_PIN_RESET);
        HAL_GPIO_WritePin(D2_GPIO_Port, D2_Pin, GPIO_PIN_RESET);
        HAL_GPIO_WritePin(D3_GPIO_Port, D3_Pin, GPIO_PIN_RESET);
        HAL_GPIO_WritePin(D4_GPIO_Port, D4_Pin, GPIO_PIN_RESET);
        setAllShiftLEDs(0);
        HAL_Delay(duration_ms);
        return;
    }

    if (brightness == 100) {
        // Turns on all LEDs at full brightness
        HAL_GPIO_WritePin(D1_GPIO_Port, D1_Pin, GPIO_PIN_SET);
        HAL_GPIO_WritePin(D2_GPIO_Port, D2_Pin, GPIO_PIN_SET);
        HAL_GPIO_WritePin(D3_GPIO_Port, D3_Pin, GPIO_PIN_SET);
        HAL_GPIO_WritePin(D4_GPIO_Port, D4_Pin, GPIO_PIN_SET);
        setAllShiftLEDs(1);
        HAL_Delay(duration_ms);
        return;
    }

    // For brightness levels, [Taken from  lecture]
    const uint16_t cycle_time_ms = 20;
    uint16_t on_time = (brightness * cycle_time_ms) / 100;
    uint16_t off_time = cycle_time_ms - on_time;
    uint16_t cycles = duration_ms / cycle_time_ms;

    if (on_time < 2 && brightness > 0) {
        on_time = 2;
        off_time = cycle_time_ms - on_time;
    }

    for (uint16_t i = 0; i < cycles; i++) {
        // Turns all LEDs ON
        HAL_GPIO_WritePin(D1_GPIO_Port, D1_Pin, GPIO_PIN_SET);
        HAL_GPIO_WritePin(D2_GPIO_Port, D2_Pin, GPIO_PIN_SET);
        HAL_GPIO_WritePin(D3_GPIO_Port, D3_Pin, GPIO_PIN_SET);
        HAL_GPIO_WritePin(D4_GPIO_Port, D4_Pin, GPIO_PIN_SET);
        setAllShiftLEDs(1);
        HAL_Delay(on_time);

        // Turns all LEDs OFF
        HAL_GPIO_WritePin(D1_GPIO_Port, D1_Pin, GPIO_PIN_RESET);
        HAL_GPIO_WritePin(D2_GPIO_Port, D2_Pin, GPIO_PIN_RESET);
        HAL_GPIO_WritePin(D3_GPIO_Port, D3_Pin, GPIO_PIN_RESET);
        HAL_GPIO_WritePin(D4_GPIO_Port, D4_Pin, GPIO_PIN_RESET);
        setAllShiftLEDs(0);
        HAL_Delay(off_time);
    }
}

void setAllShiftLEDs(uint8_t state) {
    uint16_t data = state ? 0xFFFF : 0x0000; // Sets all LEDs on/off

    HAL_GPIO_WritePin(RCLK_GPIO_Port, RCLK_Pin, GPIO_PIN_RESET);

    // Shifts 16 bits to shift register (MSB)
    for (int i = 15; i >= 0; i--) {
        HAL_GPIO_WritePin(SER_GPIO_Port, SER_Pin, (data >> i) & 0x01);
        HAL_GPIO_WritePin(SRCLK_GPIO_Port, SRCLK_Pin, GPIO_PIN_SET);
        HAL_GPIO_WritePin(SRCLK_GPIO_Port, SRCLK_Pin, GPIO_PIN_RESET);
    }

    HAL_GPIO_WritePin(RCLK_GPIO_Port, RCLK_Pin, GPIO_PIN_SET);
}

void handleSoftwarePWM(uint8_t brightness) {
    if (brightness == 0) {
        // Turns off all software PWM LEDs
        HAL_GPIO_WritePin(D1_GPIO_Port, D1_Pin, GPIO_PIN_RESET);
        HAL_GPIO_WritePin(D2_GPIO_Port, D2_Pin, GPIO_PIN_RESET);
        HAL_GPIO_WritePin(D3_GPIO_Port, D3_Pin, GPIO_PIN_RESET);
        HAL_GPIO_WritePin(D4_GPIO_Port, D4_Pin, GPIO_PIN_RESET);
        setAllShiftLEDs(0);
        return;
    }

    if (brightness == 100) {
        // Turns on all software PWM LEDs at full brightness
        HAL_GPIO_WritePin(D1_GPIO_Port, D1_Pin, GPIO_PIN_SET);
        HAL_GPIO_WritePin(D2_GPIO_Port, D2_Pin, GPIO_PIN_SET);
        HAL_GPIO_WritePin(D3_GPIO_Port, D3_Pin, GPIO_PIN_SET);
        HAL_GPIO_WritePin(D4_GPIO_Port, D4_Pin, GPIO_PIN_SET);
        setAllShiftLEDs(1);
        return;
    }

    // Handle brightness levels
    uint32_t now = HAL_GetTick();
    uint32_t elapsed = now - pwm_cycle_start;
    uint16_t on_time = (brightness * PWM_PERIOD_MS) / 100;

    if (on_time < 3 && brightness > 0) {
        on_time = 3;
    }

    if (elapsed >= PWM_PERIOD_MS) {
        // Starts new PWM cycle
        pwm_cycle_start = now;
        elapsed = 0;
        pwm_state = true;  // Starts with LEDs on

        HAL_GPIO_WritePin(D1_GPIO_Port, D1_Pin, GPIO_PIN_SET);
        HAL_GPIO_WritePin(D2_GPIO_Port, D2_Pin, GPIO_PIN_SET);
        HAL_GPIO_WritePin(D3_GPIO_Port, D3_Pin, GPIO_PIN_SET);
        HAL_GPIO_WritePin(D4_GPIO_Port, D4_Pin, GPIO_PIN_SET);
        setAllShiftLEDs(1);
    }

    if (pwm_state && elapsed >= on_time) {
        // Turns off LEDs
        pwm_state = false;
        HAL_GPIO_WritePin(D1_GPIO_Port, D1_Pin, GPIO_PIN_RESET);
        HAL_GPIO_WritePin(D2_GPIO_Port, D2_Pin, GPIO_PIN_RESET);
        HAL_GPIO_WritePin(D3_GPIO_Port, D3_Pin, GPIO_PIN_RESET);
        HAL_GPIO_WritePin(D4_GPIO_Port, D4_Pin, GPIO_PIN_RESET);
        setAllShiftLEDs(0);
    }
}

/* USER CODE END 4 */

void Error_Handler(void)
{
	__disable_irq();
	while (1)
	{
	}
}
